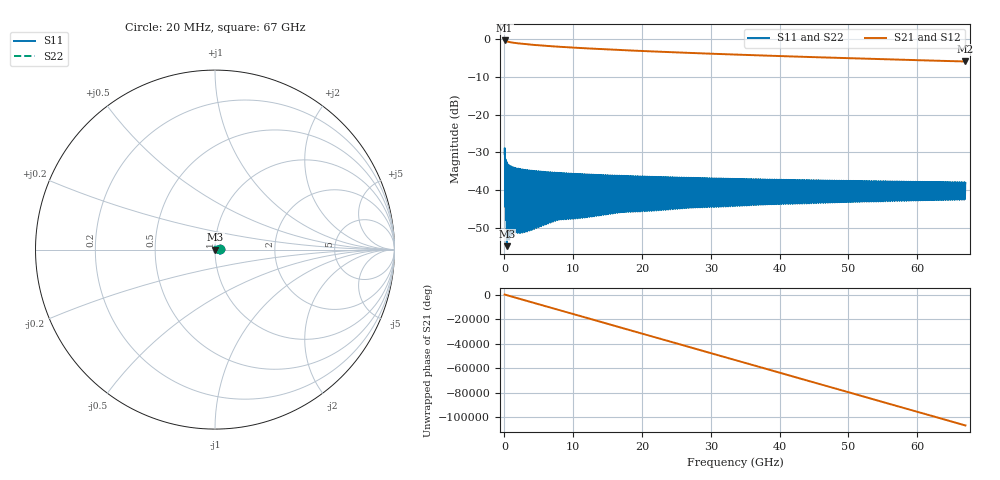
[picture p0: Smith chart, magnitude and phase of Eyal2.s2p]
! File created by SignalIntegrity v1.1.13: Signal and Power Integrity Tools
! https://github.com/TeledyneLeCroy/SignalIntegrity
# MHz S MA R 50.0
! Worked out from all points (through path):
!   3350 points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, 20 MHz to 67 GHz, reference 50 ohm
!   highest |S21| = -0.30 dB at 20 MHz (marker M1); lowest = -5.9 dB at 67 GHz (marker M2)
!   lowest |S11| = -54.9 dB at 340 MHz (marker M3), VSWR 1.00, Z = 50.2 + j0.055 ohm
!   |S11| at or under -10 dB: start of sweep to end of sweep
!   |S22| runs from -54.9 to -28.9 dB; largest |S21 - S12| = 0
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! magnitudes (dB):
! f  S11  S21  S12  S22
! 20 MHz  -30.4  -0.3  -0.3  -30.4
! 340 MHz  -54.9  -0.6  -0.6  -54.9
! 400 MHz  -33.0  -0.6  -0.6  -33.0
! 620 MHz  -33.3  -0.7  -0.7  -33.3
! 680 MHz  -53.2  -0.7  -0.7  -53.2
! 740 MHz  -33.6  -0.7  -0.7  -33.6
! 1.3 GHz  -34.0  -0.9  -0.9  -34.0
! 1.36 GHz  -51.1  -0.9  -0.9  -51.1
! 1.52 GHz  -34.2  -1.0  -1.0  -34.2
! 1.58 GHz  -51.3  -1.0  -1.0  -51.3
! 1.64 GHz  -34.2  -1.0  -1.0  -34.2
! 1.7 GHz  -50.3  -1.0  -1.0  -50.3
! 3.9 GHz  -34.9  -1.4  -1.4  -34.9
! 3.96 GHz  -50.6  -1.4  -1.4  -50.6
! 4.58 GHz  -35.0  -1.5  -1.5  -35.0
! 11.2 GHz  -45.4  -2.3  -2.3  -45.4
! 22.36 GHz  -36.5  -3.3  -3.3  -36.5
! 33.52 GHz  -44.3  -4.0  -4.0  -44.3
! 44.68 GHz  -37.4  -4.7  -4.7  -37.4
! 55.84 GHz  -42.6  -5.3  -5.3  -42.6
! 66.66 GHz  -38.1  -5.9  -5.9  -38.1
! 67 GHz  -38.2  -5.9  -5.9  -38.2
